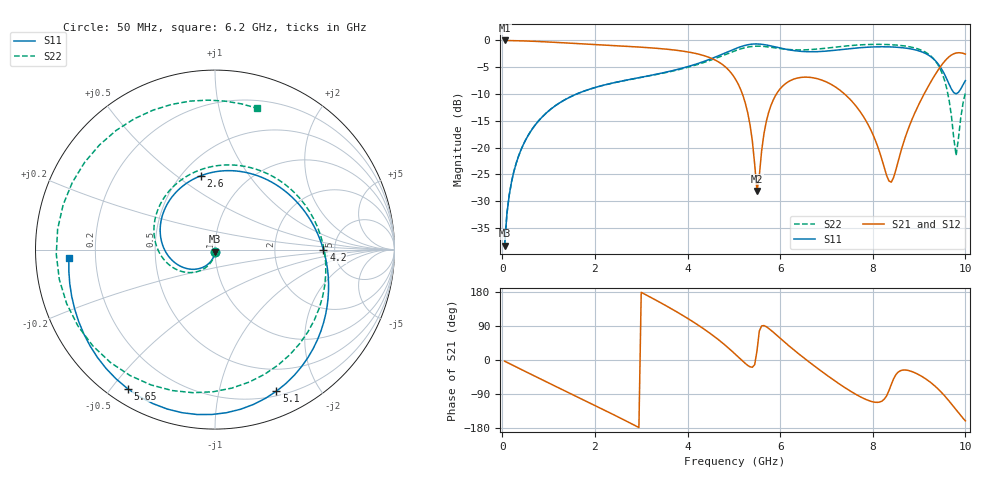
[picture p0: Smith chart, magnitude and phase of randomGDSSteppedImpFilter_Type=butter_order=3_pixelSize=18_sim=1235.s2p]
! freq	dB(S11)	phase(S11)	dB(S12)	phase(S12)
!  dB(S21)	phase(S21)	dB(S22)	phase(S22)
!S-par simulation data
#  GHz  S  DB  R 50
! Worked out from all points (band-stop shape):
!   200 points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, 50 MHz to 10 GHz, reference 50 ohm
!   highest |S21| = 0.00 dB at 50 MHz (marker M1); lowest = -28.1 dB at 5.5 GHz (marker M2)
!   |S21| within 3 dB of the highest: start of sweep to 4.413 GHz; 9.654 GHz to end of sweep
!   lowest |S11| = -38.3 dB at 50 MHz (marker M3), VSWR 1.02, Z = 49.9 - j1.21 ohm
!   |S11| at or under -10 dB: start of sweep to 1.607 GHz
!   |S22| runs from -38.4 to -0.7 dB; largest |S21 - S12| = 0
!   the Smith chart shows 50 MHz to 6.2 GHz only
!   S11 on the Smith chart (normalised r, x): 50 MHz: 1.00, -0.02; 2.6 GHz: 0.62, +0.62; 4.2 GHz: 4.05, -0.01; 5.1 GHz: 0.25, -1.49; 5.65 GHz: 0.06, -0.55; 6.2 GHz: 0.10, -0.03
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0.05  -38.34 -92.9  -0.00 -3.1  -0.00 -3.1  -38.43 -91.3
0.2  -26.40 -103.3  -0.03 -12.3  -0.03 -12.3  -26.39 -101.3
0.5  -18.65 -123.5  -0.10 -30.5  -0.10 -30.5  -18.65 -118.4
1.75  -9.51 155.1  -0.65 -105.1  -0.65 -105.1  -9.51 173.1
2.6  -7.55 100.6  -1.05 -156.4  -1.05 -156.4  -7.57 125.3
3.4  -6.18 49.9  -1.52 152.4  -1.52 152.4  -6.24 73.8
4.2  -4.38 -0.1  -2.48 94.5  -2.48 94.5  -4.54 7.8
4.65  -2.93 -30.2  -3.92 55.3  -3.92 55.3  -3.20 -41.6
5.05  -1.47 -62.1  -7.44 13.2  -7.44 13.2  -1.87 -98.7
5.1  -1.31 -66.6  -8.26 7.5  -8.26 7.5  -1.72 -106.9
5.35  -0.74 -91.0  -15.77 -18.0  -15.77 -18.0  -1.17 -150.8
5.5  -0.66 -106.6  -28.11 24.3  -28.11 24.3  -1.06 -178.3
5.65  -0.77 -122.2  -17.43 90.8  -17.43 90.8  -1.12 154.8
6.2  -1.77 -176.6  -7.59 36.3  -7.59 36.3  -1.70 73.6
6.7  -2.12 131.6  -6.96 -12.2  -6.96 -12.2  -1.68 23.3
7.15  -1.87 81.1  -8.45 -52.4  -8.45 -52.4  -1.29 -11.5
7.65  -1.41 27.2  -12.40 -91.7  -12.40 -91.7  -0.87 -44.8
8.35  -1.20 -36.3  -26.26 -80.7  -26.26 -80.7  -0.78 -87.5
9.3  -3.36 -112.3  -7.06 -64.2  -7.06 -64.2  -3.30 -158.7
9.6  -7.25 -130.9  -3.43 -101.4  -3.43 -101.4  -9.08 157.2
9.8  -9.97 -116.2  -2.35 -131.7  -2.35 -131.7  -21.50 50.1
10  -7.49 -105.0  -2.55 -160.6  -2.55 -160.6  -9.72 -51.6
